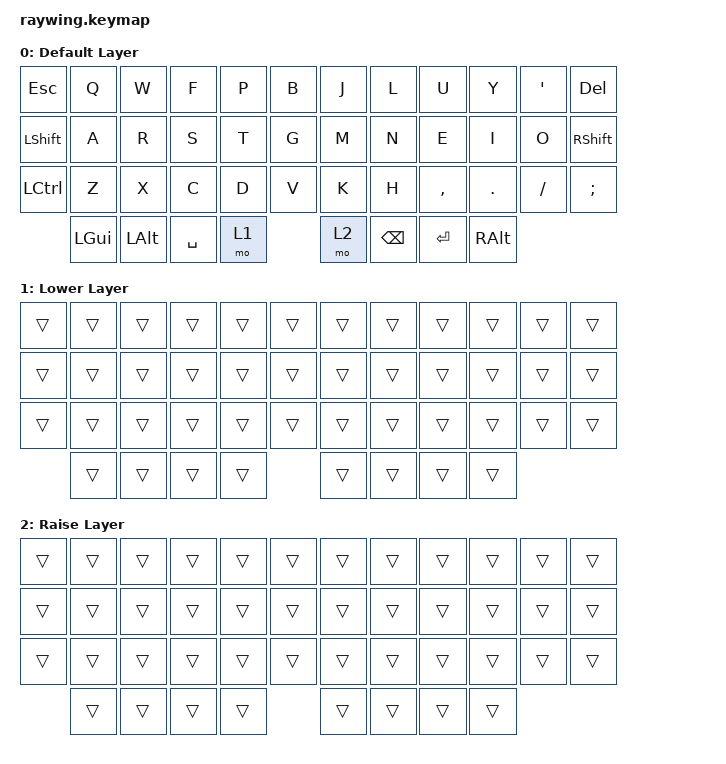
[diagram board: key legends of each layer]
#include <behaviors.dtsi>
#include <dt-bindings/zmk/keys.h>
#include <dt-bindings/zmk/bt.h>

/ {
        keymap {
                compatible = "zmk,keymap";

                default_layer {
                        display-name = "Default Layer";
                        bindings = <
   &kp ESC   &kp Q    &kp W    &kp F &kp P &kp B   &kp J   &kp L &kp U     &kp Y   &kp SQT    &kp DEL
   &kp LSHFT &kp A    &kp R    &kp S &kp T &kp G   &kp M   &kp N &kp E     &kp I   &kp O &kp RSHFT
   &kp LCTL  &kp Z    &kp X    &kp C &kp D &kp V   &kp K   &kp H &kp COMMA &kp DOT &kp FSLH &kp SEMI
             &kp LGUI &kp LALT &kp SPACE &mo 1     &mo 2   &kp BSPC &kp ENTER  &kp RALT
                        >;
                };
                lower_layer {
                        display-name = "Lower Layer";
                        bindings = <
    &trans &trans &trans &trans &trans &trans   &trans &trans &trans &trans &trans &trans
    &trans &trans &trans &trans &trans &trans   &trans &trans &trans &trans &trans &trans
    &trans &trans &trans &trans &trans &trans   &trans &trans &trans &trans &trans &trans
                  &trans &trans &trans &trans   &trans &trans &trans &trans              
                        >;
                };

                raise_layer {
                        display-name = "Raise Layer";
                        bindings = <
    &trans &trans &trans &trans &trans &trans   &trans &trans &trans &trans &trans &trans
    &trans &trans &trans &trans &trans &trans   &trans &trans &trans &trans &trans &trans
    &trans &trans &trans &trans &trans &trans   &trans &trans &trans &trans &trans &trans
                  &trans &trans &trans &trans   &trans &trans &trans &trans              
                        >;
                };
        };
};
